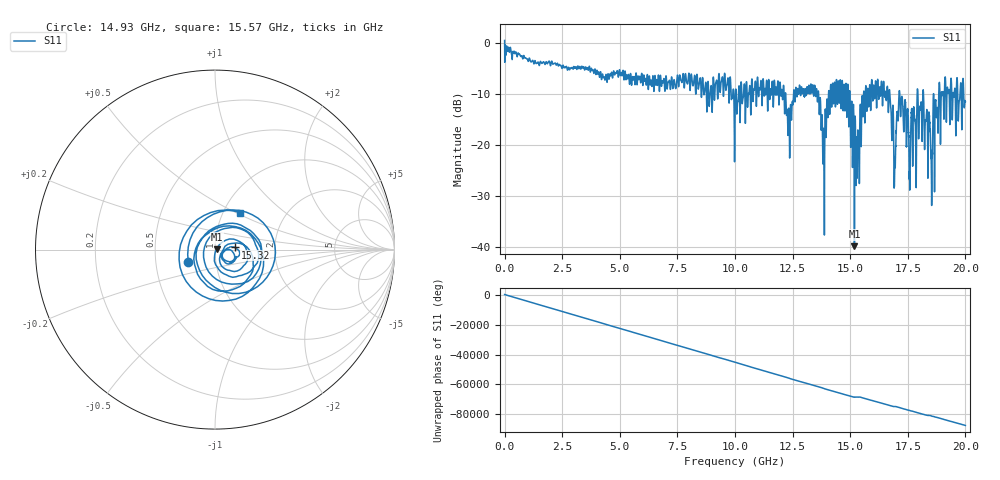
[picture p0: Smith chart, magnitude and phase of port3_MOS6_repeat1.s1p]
! MS46122B
! 2250307/22442219
! 7/25/2025 1:45:47 PM
! C:\USERS\SPARKY\DOCUMENTS\VNA_DATA\JULY25_2025\3K\PORT3_MOS6_REPEAT1.S1P
! CHANNEL.1
! TR.MEASUREMENT
! RAW.DATA
# GHZ S RI R 50.0
! FREQ.GHZ  S11RE  S11IM
!; PortSelection: Port_1
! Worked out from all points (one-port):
!   10001 points, 1 MHz to 20 GHz, reference 50 ohm
!   lowest |S11| = -39.8 dB at 15.18 GHz (marker M1), VSWR 1.02, Z = 51 + j0.264 ohm
!   |S11| at or under -10 dB: 14.99 GHz to 15.58 GHz (594.1 MHz wide, 3.89 % of centre); 17.15 GHz to 17.91 GHz (757.4 MHz wide, 4.32 % of centre); 18.18 GHz to 18.84 GHz (660.3 MHz wide, 3.57 % of centre) (the widest 3 of 88)
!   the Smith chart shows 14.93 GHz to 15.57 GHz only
!   S11 on the Smith chart (normalised r, x): 14.93 GHz: 0.73, -0.10; 15.32 GHz: 1.25, +0.03; 15.57 GHz: 1.20, +0.53
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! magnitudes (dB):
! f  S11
! 1 MHz  0.4
! 2.501 GHz  -5.0
! 5.001 GHz  -5.6
! 7.501 GHz  -6.4
! 8.939 GHz  -9.2
! 9.621 GHz  -8.9
! 10 GHz  -13.5
! 11.05 GHz  -9.1
! 12.03 GHz  -9.2
! 12.36 GHz  -18.0
! 12.5 GHz  -11.8
! 13.46 GHz  -8.4
! 13.87 GHz  -25.2
! 14.23 GHz  -8.0
! 14.93 GHz  -15.7
! 15 GHz  -12.8
! 15.18 GHz  -39.8
! 15.32 GHz  -19.1
! 15.57 GHz  -12.1
! 16.53 GHz  -9.6
! 16.78 GHz  -14.0
! 16.89 GHz  -21.0
! 17.19 GHz  -14.2
! 17.5 GHz  -13.4
! 18.1 GHz  -14.8
! 18.47 GHz  -17.2
! 19.05 GHz  -11.4
! 20 GHz  -11.6
